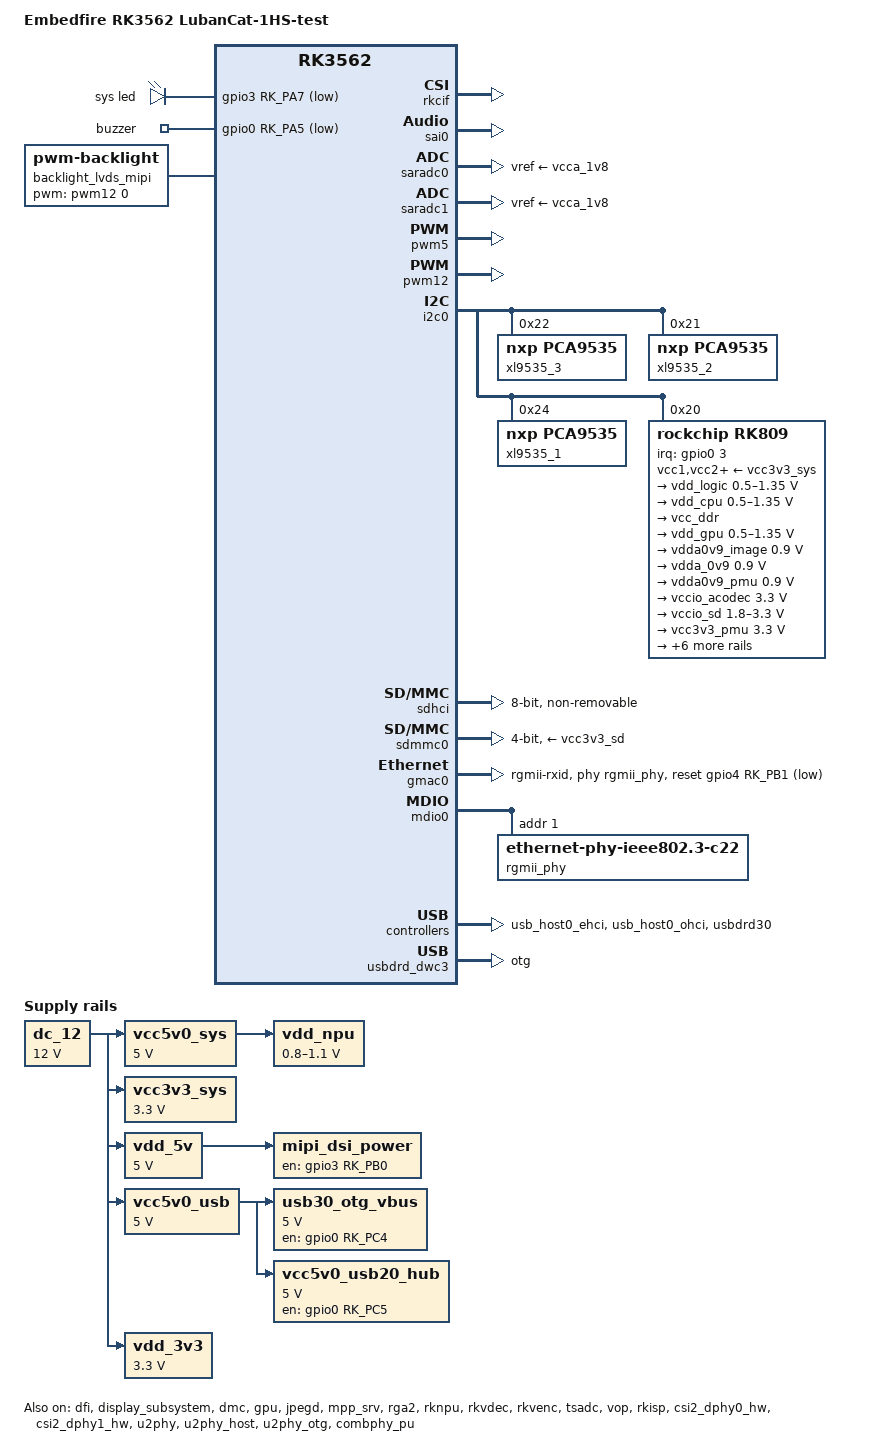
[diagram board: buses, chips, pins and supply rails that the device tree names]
// SPDX-License-Identifier: (GPL-2.0+ OR MIT)
/*
 * Copyright (c) 2024 Rockchip Electronics Co., Ltd.
 *
 */

/dts-v1/;

#include <dt-bindings/display/drm_mipi_dsi.h>
#include <dt-bindings/gpio/gpio.h>
#include <dt-bindings/input/input.h>
#include <dt-bindings/pinctrl/rockchip.h>
#include <dt-bindings/pinctrl/rockchip.h>
#include <dt-bindings/sensor-dev.h>
#include "dt-bindings/usb/pd.h"
#include "rk3562.dtsi"
#include "rk3562-linux.dtsi"

#include "rk3562-lubancat-1hs-test-csi.dtsi"

/ {
	model = "Embedfire RK3562 LubanCat-1HS-test";
	compatible = "embedfire,rk3562-lubancat-1hs-test", "rockchip,rk3562";

	aliases {
		gpio5 = &xl9535_1;
		gpio6 = &xl9535_2;
		gpio7 = &xl9535_3;
	};

	dc_12: dc-12v {
		compatible = "regulator-fixed";
		regulator-name = "dc_12v";
		regulator-always-on;
		regulator-boot-on;
		regulator-min-microvolt = <12000000>;
		regulator-max-microvolt = <12000000>;
	};

	vcc5v0_sys: vcc5v0-sys {
		compatible = "regulator-fixed";
		regulator-name = "vcc5v0_sys";
		regulator-always-on;
		regulator-boot-on;
		regulator-min-microvolt = <5000000>;
		regulator-max-microvolt = <5000000>;
		vin-supply = <&dc_12>;
	};

	vcc3v3_sys: vcc3v3-sys {
		compatible = "regulator-fixed";
		regulator-name = "vcc3v3_sys";
		regulator-always-on;
		regulator-boot-on;
		regulator-min-microvolt = <3300000>;
		regulator-max-microvolt = <3300000>;
		vin-supply = <&dc_12>;
	};

	vdd_5v: vdd-5v {
		compatible = "regulator-fixed";
		regulator-name = "vdd_5v";
		regulator-always-on;
		regulator-boot-on;
		regulator-min-microvolt = <5000000>;
		regulator-max-microvolt = <5000000>;
		vin-supply = <&dc_12>;
	};

	vcc5v0_usb: vcc5v0-usb {
		compatible = "regulator-fixed";
		regulator-name = "vcc5v0_usb";
		regulator-always-on;
		regulator-boot-on;
		regulator-min-microvolt = <5000000>;
		regulator-max-microvolt = <5000000>;
		vin-supply = <&dc_12>;
	};

	vdd_5v: vdd-5v {
		compatible = "regulator-fixed";
		regulator-name = "vdd_5v";
		regulator-always-on;
		regulator-boot-on;
		regulator-min-microvolt = <5000000>;
		regulator-max-microvolt = <5000000>;
		vin-supply = <&dc_12>;
	};

	vdd_3v3: vdd-3v3 {
		compatible = "regulator-fixed";
		regulator-name = "vdd_3v3";
		regulator-always-on;
		regulator-boot-on;
		regulator-min-microvolt = <3300000>;
		regulator-max-microvolt = <3300000>;
		vin-supply = <&dc_12>;
	};

	vdd_npu: vdd-npu {
		compatible = "pwm-regulator";
		pwms = <&pwm5 0 5000 1>;
		regulator-name = "vdd_npu";
		regulator-min-microvolt = <800000>;
		regulator-max-microvolt = <1100000>;
		regulator-init-microvolt = <900000>;
		regulator-always-on;
		regulator-boot-on;
		regulator-settling-time-up-us = <250>;
		pwm-supply = <&vcc5v0_sys>;
		status = "okay";
	};

	usb30_otg_vbus: usb30-otg-vbus-regulator {
		compatible = "regulator-fixed";
		enable-active-high;
		regulator-min-microvolt = <5000000>;
		regulator-max-microvolt = <5000000>;
		gpio = <&gpio0 RK_PC4 GPIO_ACTIVE_HIGH>;
		pinctrl-names = "default";
		pinctrl-0 = <&usb30_otg_vbus_en>;
		regulator-name = "usb30_otg_vbus";
		vin-supply = <&vcc5v0_usb>;
	};

	vcc5v0_usb20_hub: vcc5v0-usb20-hub-regulator {
		compatible = "regulator-fixed";
		enable-active-high;
		regulator-min-microvolt = <5000000>;
		regulator-max-microvolt = <5000000>;
		gpio = <&gpio0 RK_PC5 GPIO_ACTIVE_HIGH>;
		pinctrl-names = "default";
		pinctrl-0 = <&vcc5v0_usb20_hub_en>;
		regulator-name = "vcc5v0_usb20_hub";
		vin-supply = <&vcc5v0_usb>;
	};

	mipi_dsi_power: mipi-dsi-power-regulator {
		compatible = "regulator-fixed";
		enable-active-high;
		gpio = <&gpio3 RK_PB0 GPIO_ACTIVE_HIGH>;
		pinctrl-names = "default";
		pinctrl-0 = <&mipi_dsi_pwr_en>;
		regulator-name = "mipi_dsi_power";
		regulator-always-on;
		vin-supply = <&vdd_5v>;
	};

	test-power {
		status = "okay";
	};

	leds: leds {
		status = "okay";
		compatible = "gpio-leds";

		sys_led: sys-led {
			label = "sys led";
			linux,default-trigger = "heartbeat";
			default-state = "on";
			gpios = <&gpio3 RK_PA7 GPIO_ACTIVE_LOW>;
			pinctrl-names = "default";
			pinctrl-0 = <&sys_led_pin>;
		};

        buzzer: buzzer {
			label = "buzzer";
			default-state = "on";
			linux,default-trigger = "none";
			gpios = <&gpio0 RK_PA5 GPIO_ACTIVE_LOW>;
			pinctrl-names = "default";
			pinctrl-0 = <&buzzer_pin>;
		};
	};

	rk809_sound: rk809-sound {
		status = "okay";
		compatible = "simple-audio-card";
		// pinctrl-names = "default";
		// pinctrl-0 = <&hp_det>;
		// simple-audio-card,hp-det-gpio = <&gpio0 RK_PA0 GPIO_ACTIVE_HIGH>;
		simple-audio-card,pin-switches = "Headphones";
		simple-audio-card,format = "i2s";
		simple-audio-card,name = "rockchip,rk809-codec";
		simple-audio-card,mclk-fs = <256>;
		simple-audio-card,widgets =
			"Microphone", "Mic Jack",
			"Speaker", "Speaker",
			"Headphone", "Headphones";
			
		simple-audio-card,cpu {
			sound-dai = <&sai0>;
		};
		simple-audio-card,codec {
			sound-dai = <&rk809_codec>;
		};
	};

	backlight_lvds_mipi: backlight-lvds-mipi {
		status = "okay";
		compatible = "pwm-backlight";
		pwms = <&pwm12 0 50000 0>;
		brightness-levels = <
			 95  95  95  95  95  95  95  95
			 95  95  95  95  95  95  95  95
			 95  95  95  95  95  95  95  95
			 95  95  95  95  95  95  95  95
			 95  95  95  95  95  95  95  95
			 95  95  95  95  95  95  95  95
			 95  95  95  95  95  95  95  95
			 95  95  95  95  95  95  95  95
			 95  95  95  95  95  95  95  95
			 95  95  95  95  95  95  95  95
			 95  95  95  95  95  95  95  95
			 88  89  90  91  92  93  94  95
			 96  97  98  99 100 101 102 103
			104 105 106 107 108 109 110 111
			112 113 114 115 116 117 118 119
			120 121 122 123 124 125 126 127
			128 129 130 131 132 133 134 135
			136 137 138 139 140 141 142 143
			144 145 146 147 148 149 150 151
			152 153 154 155 156 157 158 159
			160 161 162 163 164 165 166 167
			168 169 170 171 172 173 174 175
			176 177 178 179 180 181 182 183
			184 185 186 187 188 189 190 191
			192 193 194 195 196 197 198 199
			200 201 202 203 204 205 206 207
			208 209 210 211 212 213 214 215
			216 217 218 219 220 221 222 223
			224 225 226 227 228 229 230 231
			232 233 234 235 236 237 238 239
			240 241 242 243 244 245 246 247
			248 249 250 251 252 253 254 255
		>;
		default-brightness-level = <200>;
	};
};

&cpu0 {
	cpu-supply = <&vdd_cpu>;
};

&rockchip_suspend {
	status = "okay";
};

&dfi {
	status = "okay";
};

&display_subsystem {
	devfreq = <&dmc>;
	status = "okay";
};

&dmc {
	vop-bw-dmc-freq = <
	/* min_bw(MB/s) max_bw(MB/s) freq(KHz) */
		0   286 324000
		287 99999   528000
	>;
	vop-frame-bw-dmc-freq = <
	/* min_bw(MB/s) max_bw(MB/s) freq(KHz) */
		0   620 324000
		621 99999   780000
	>;
	cpu-bw-dmc-freq = <
	/* min_bw(MB/s) max_bw(MB/s) freq(KHz) */
		0   350 324000
		351 400 528000
		401 99999   780000
	>;

	center-supply = <&vdd_logic>;
	status = "okay";
};

&gpu {
	status = "okay";
	mali-supply = <&vdd_gpu>;
};

&jpegd {
	status = "okay";
};

&jpegd_mmu {
	status = "okay";
};

&mpp_srv {
	status = "okay";
};

&rga2 {
	status = "okay";
};

&rga2_mmu {
	status = "okay";
};

&rknpu {
	rknpu-supply = <&vdd_npu>;
	status = "okay";
};

&rknpu_mmu {
	status = "okay";
};

&rkvdec {
	status = "okay";
};

&rkvdec_mmu {
	status = "okay";
};

&rkvenc {
	status = "okay";
};

&rkvenc_mmu {
	status = "okay";
};

&tsadc {
	status = "okay";
};

&vop {
	status = "okay";
};

&vop_mmu {
	status = "okay";
};

&pmu_mailbox {
	status = "okay";
};

&rkcif {
	status = "okay";
};

&rkcif_mmu {
	status = "okay";
};

&rkisp {
	status = "okay";
};

&rkisp_mmu {
	status = "okay";
};

&csi2_dphy0_hw {
	status = "okay";
};

&csi2_dphy1_hw {
	status = "okay";
};

&sai0 {
	status = "okay";
	pinctrl-names = "default";
	pinctrl-0 = <&i2s0m0_lrck
			 &i2s0m0_sclk
			 &i2s0m0_sdi0
			 &i2s0m0_sdo0>;
};

&saradc0 {
	status = "okay";
	vref-supply = <&vcca_1v8>;
};

&saradc1 {
	status = "okay";
	vref-supply = <&vcca_1v8>;
};

&pwm5 {
	status = "okay";
	pinctrl-0 = <&pwm5m0_pins>;
};

&pwm12 {
	status = "okay";
	pinctrl-0 = <&pwm12m1_pins>;
};

&i2c0 {
	status = "okay";

	xl9535_3: xl9535-3@22 {
		compatible = "nxp,pca9535";
		reg = <0x22>;
		pinctrl-names = "default";
		gpio-controller;
		#gpio-cells = <2>;
	};

	xl9535_2: xl9535-2@21 {
		compatible = "nxp,pca9535";
		reg = <0x21>;
		pinctrl-names = "default";
		gpio-controller;
		#gpio-cells = <2>;
	};

	xl9535_1: xl9535-1@24 {
		compatible = "nxp,pca9535";
		reg = <0x24>;
		pinctrl-names = "default";
		gpio-controller;
		#gpio-cells = <2>;
	};

	rk809: pmic@20 {
		compatible = "rockchip,rk809";
		reg = <0x20>;
		interrupt-parent = <&gpio0>;
		interrupts = <3 IRQ_TYPE_LEVEL_LOW>;

		pinctrl-names = "default", "pmic-sleep",
			"pmic-power-off", "pmic-reset";
		pinctrl-0 = <&pmic_int>;
		pinctrl-1 = <&soc_slppin_slp>, <&rk817_slppin_slp>;
		pinctrl-2 = <&soc_slppin_gpio>, <&rk817_slppin_pwrdn>;
		pinctrl-3 = <&soc_slppin_gpio>, <&rk817_slppin_rst>;
		rockchip,system-power-controller;
		wakeup-source;
		#clock-cells = <1>;
		clock-output-names = "rk808-clkout1", "rk808-clkout2";
		/* 1: rst regs (default in codes), 0: rst the pmic */
		pmic-reset-func = <0>;
		/* not save the PMIC_POWER_EN register in uboot */
		not-save-power-en = <1>;

		vcc1-supply = <&vcc3v3_sys>;
		vcc2-supply = <&vcc3v3_sys>;
		vcc3-supply = <&vcc3v3_sys>;
		vcc4-supply = <&vcc3v3_sys>;
		vcc5-supply = <&vcc3v3_sys>;
		vcc6-supply = <&vcc3v3_sys>;
		vcc7-supply = <&vcc3v3_sys>;
		vcc8-supply = <&vcc3v3_sys>;
		vcc9-supply = <&vcc3v3_sys>;

		pwrkey {
			status = "okay";
		};

		pinctrl_rk8xx: pinctrl_rk8xx {
			gpio-controller;
			#gpio-cells = <2>;

			rk817_slppin_null: rk817_slppin_null {
				pins = "gpio_slp";
				function = "pin_fun0";
			};

			rk817_slppin_slp: rk817_slppin_slp {
				pins = "gpio_slp";
				function = "pin_fun1";
			};

			rk817_slppin_pwrdn: rk817_slppin_pwrdn {
				pins = "gpio_slp";
				function = "pin_fun2";
			};

			rk817_slppin_rst: rk817_slppin_rst {
				pins = "gpio_slp";
				function = "pin_fun3";
			};
		};

		regulators {
			vdd_logic: DCDC_REG1 {
				regulator-always-on;
				regulator-boot-on;
				regulator-min-microvolt = <500000>;
				regulator-max-microvolt = <1350000>;
				regulator-init-microvolt = <950000>;
				regulator-ramp-delay = <6001>;
				regulator-initial-mode = <0x2>;
				regulator-name = "vdd_logic";
				regulator-state-mem {
					regulator-off-in-suspend;
				};
			};

			vdd_cpu: DCDC_REG2 {
				regulator-always-on;
				regulator-boot-on;
				regulator-min-microvolt = <500000>;
				regulator-max-microvolt = <1350000>;
				regulator-init-microvolt = <1050000>;
				regulator-ramp-delay = <6001>;
				regulator-initial-mode = <0x2>;
				regulator-name = "vdd_cpu";
				regulator-state-mem {
					regulator-off-in-suspend;
				};
			};

			vcc_ddr: DCDC_REG3 {
				regulator-always-on;
				regulator-boot-on;
				regulator-initial-mode = <0x2>;
				regulator-name = "vcc_ddr";
				regulator-state-mem {
					regulator-on-in-suspend;
				};
			};

			vdd_gpu: DCDC_REG4 {
				regulator-always-on;
				regulator-boot-on;
				regulator-min-microvolt = <500000>;
				regulator-max-microvolt = <1350000>;
				regulator-init-microvolt = <900000>;
				regulator-ramp-delay = <6001>;
				regulator-initial-mode = <0x2>;
				regulator-name = "vdd_gpu";
				regulator-state-mem {
					regulator-off-in-suspend;
				};
			};

			vdda0v9_image: LDO_REG1 {
				regulator-always-on;
				regulator-boot-on;
				regulator-min-microvolt = <900000>;
				regulator-max-microvolt = <900000>;
				regulator-name = "vdda0v9_image";
				regulator-state-mem {
					regulator-off-in-suspend;
				};
			};

			vdda_0v9: LDO_REG2 {
				regulator-always-on;
				regulator-boot-on;
				regulator-min-microvolt = <900000>;
				regulator-max-microvolt = <900000>;
				regulator-name = "vdda_0v9";
				regulator-state-mem {
					regulator-off-in-suspend;
				};
			};

			vdda0v9_pmu: LDO_REG3 {
				regulator-always-on;
				regulator-boot-on;
				regulator-min-microvolt = <900000>;
				regulator-max-microvolt = <900000>;
				regulator-name = "vdda0v9_pmu";
				regulator-state-mem {
					regulator-on-in-suspend;
					regulator-suspend-microvolt = <900000>;
				};
			};

			vccio_acodec: LDO_REG4 {
				regulator-always-on;
				regulator-boot-on;
				regulator-min-microvolt = <3300000>;
				regulator-max-microvolt = <3300000>;
				regulator-name = "vccio_acodec";
				regulator-state-mem {
					regulator-off-in-suspend;
				};
			};

			vccio_sd: LDO_REG5 {
				regulator-always-on;
				regulator-boot-on;
				regulator-min-microvolt = <1800000>;
				regulator-max-microvolt = <3300000>;
				regulator-name = "vccio_sd";
				regulator-state-mem {
					regulator-off-in-suspend;
				};
			};

			vcc3v3_pmu: LDO_REG6 {
				regulator-always-on;
				regulator-boot-on;
				regulator-min-microvolt = <3300000>;
				regulator-max-microvolt = <3300000>;
				regulator-name = "vcc3v3_pmu";
				regulator-state-mem {
					regulator-on-in-suspend;
					regulator-suspend-microvolt = <3300000>;
				};
			};

			vcca_1v8: LDO_REG7 {
				regulator-always-on;
				regulator-boot-on;
				regulator-min-microvolt = <1800000>;
				regulator-max-microvolt = <1800000>;
				regulator-name = "vcca_1v8";
				regulator-state-mem {
					regulator-off-in-suspend;
				};
			};

			vcca1v8_pmu: LDO_REG8 {
				regulator-always-on;
				regulator-boot-on;
				regulator-min-microvolt = <1800000>;
				regulator-max-microvolt = <1800000>;
				regulator-name = "vcca1v8_pmu";
				regulator-state-mem {
					regulator-on-in-suspend;
					regulator-suspend-microvolt = <1800000>;
				};
			};

			vcca1v8_image: LDO_REG9 {
				regulator-always-on;
				regulator-boot-on;
				regulator-min-microvolt = <1800000>;
				regulator-max-microvolt = <1800000>;
				regulator-name = "vcca1v8_image";
				regulator-state-mem {
					regulator-off-in-suspend;
				};
			};

			vcc_1v8: DCDC_REG5 {
				regulator-always-on;
				regulator-boot-on;
				regulator-min-microvolt = <1800000>;
				regulator-max-microvolt = <1800000>;
				regulator-name = "vcc_1v8";
				regulator-state-mem {
					regulator-off-in-suspend;
				};
			};

			vcc_3v3: SWITCH_REG1 {
				regulator-always-on;
				regulator-boot-on;
				regulator-name = "vcc_3v3";
				regulator-state-mem {
					regulator-off-in-suspend;
				};
			};

			vcc3v3_sd: SWITCH_REG2 {
				regulator-always-on;
				regulator-boot-on;
				regulator-name = "vcc3v3_sd";
				regulator-state-mem {
					regulator-off-in-suspend;
				};
			};
		};

		rk809_rtc: rtc {
			status = "disabled";
		};

		rk809_codec: codec {
			#sound-dai-cells = <0>;
			compatible = "rockchip,rk809-codec", "rockchip,rk817-codec";
			clocks = <&mclkout_sai0>;
			clock-names = "mclk";
			assigned-clocks = <&mclkout_sai0>;
			assigned-clock-rates = <12288000>;
			pinctrl-names = "default";
			pinctrl-0 = <&i2s0m0_mclk>;
			hp-volume = <20>;
			spk-volume = <3>;
			//mic-in-differential;
			status = "okay";
		};
	};
};

&sdhci {
	bus-width = <8>;
	no-sdio;
	no-sd;
	non-removable;
	max-frequency = <200000000>;
	mmc-hs400-1_8v;
	mmc-hs400-enhanced-strobe;
	full-pwr-cycle-in-suspend;
	pinctrl-names = "default";
	pinctrl-0 = <&emmc_bus8 &emmc_clk &emmc_cmd &emmc_strb>;
	status = "okay";
};

&sdmmc0 {
	no-sdio;
	no-mmc;
	bus-width = <4>;
	cap-mmc-highspeed;
	cap-sd-highspeed;
	disable-wp;
	sd-uhs-sdr104;
	vmmc-supply = <&vcc3v3_sd>;
	vqmmc-supply = <&vccio_sd>;
	pinctrl-names = "default";
	pinctrl-0 = <&sdmmc0_bus4 &sdmmc0_clk &sdmmc0_cmd &sdmmc0_det>;
	status = "okay";
};

&gmac0 {
	/* Use rgmii-rxid mode to disable rx delay inside Soc */
	phy-mode = "rgmii-rxid";
	clock_in_out = "output";

	snps,reset-gpio = <&gpio4 RK_PB1 GPIO_ACTIVE_LOW>;
	snps,reset-active-low;
	/* Reset time is 20ms, 100ms for rtl8211f */
	snps,reset-delays-us = <0 20000 100000>;

	tx_delay = <0x1e>;
	/* rx_delay = <0x3f>; */

	pinctrl-names = "default";
	pinctrl-0 = <&rgmiim0_miim
			 &rgmiim0_tx_bus2
			 &rgmiim0_rx_bus2
			 &rgmiim0_rgmii_clk
			 &rgmiim0_rgmii_bus
			 &rgmiim0_clk>;

	phy-handle = <&rgmii_phy>;
	status = "okay";
};

&mdio0 {
	rgmii_phy: phy@1 {
		compatible = "ethernet-phy-ieee802.3-c22";
		reg = <0x1>;
	};
};

/* USB OTG/USB Host_1 USB 2.0 Comb PHY */
&u2phy {
	status = "okay";
};

/* USB20 HOST1 */
&u2phy_host {
	status = "okay";
	phy-supply = <&vcc5v0_usb20_hub>;
};

/* USB20 OTG */
&u2phy_otg {
	status = "okay";
	vbus-supply = <&usb30_otg_vbus>;
};

&usb_host0_ehci {
	status = "okay";
};

&usb_host0_ohci {
	status = "okay";
};

/* USB 3.0 OTG/pcie2x1 Combo PHY */
&combphy_pu {
	status = "okay";
};

/* USB 3.0 OTG controller */
&usbdrd30 {
	status = "okay";
};

&usbdrd_dwc3 {
	status = "okay";
	dr_mode = "otg";
	extcon = <&u2phy>;
};

&pinctrl {
	leds {
		sys_led_pin: sys-led-pin {
			rockchip,pins = <3 RK_PA7 RK_FUNC_GPIO &pcfg_pull_none>;
		};

        buzzer_pin: buzzer-pin {
            rockchip,pins = <0 RK_PA5 RK_FUNC_GPIO &pcfg_pull_none>;
        };
	};

	lcd {
		mipi_dsi_pwr_en: mipi-dsi-pwr-en {
			rockchip,pins = <3 RK_PB0 RK_FUNC_GPIO &pcfg_pull_none>;
		};

		lcd_rst_gpio: lcd-rst-gpio {
			rockchip,pins = <3 RK_PB5 RK_FUNC_GPIO &pcfg_pull_up>;
		};
	};

	usb {
		usb30_otg_vbus_en: usb30-otg-vbus-en {
			rockchip,pins = <0 RK_PC4 RK_FUNC_GPIO &pcfg_pull_none>;
		};

		vcc5v0_usb20_hub_en: vcc5v0-usb20-hub-en {
			rockchip,pins = <0 RK_PC5 RK_FUNC_GPIO &pcfg_pull_none>;
		};
	};
};
